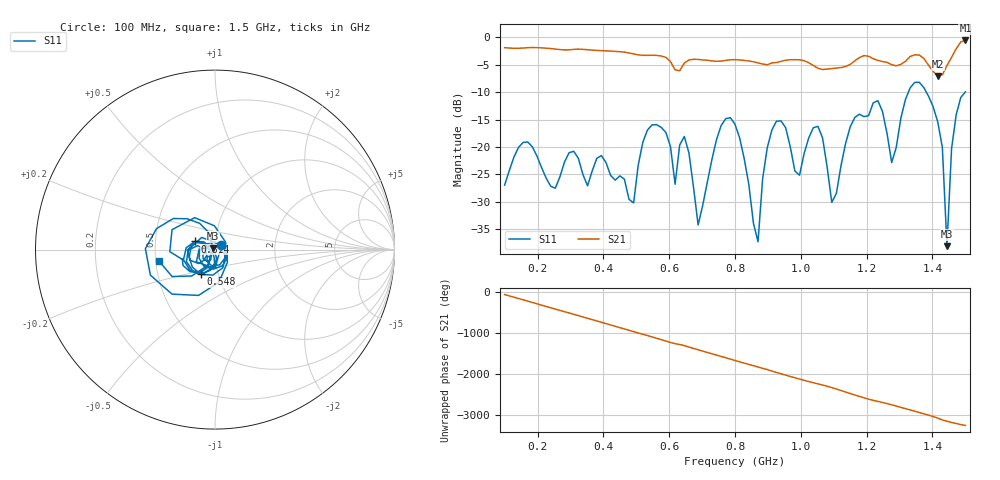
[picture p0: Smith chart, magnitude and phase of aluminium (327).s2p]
! NanoVNA-App
! Date: 2025-09-25 14:57:49
! Start: 100MHz Stop: 1,5GHz Points: 101
! S-Parameter data: F S11 S21 S12 S22
# Hz S RI R 50
!  Frequency  S11_Real  S11_Imag  S21_Real  S21_Imag  S12_Real  S12_Imag  S22_Real  S22_Imag
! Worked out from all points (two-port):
!   101 points, 100 MHz to 1.5 GHz, reference 50 ohm
!   highest |S21| = -0.61 dB at 1.5 GHz (marker M1); lowest = -7.1 dB at 1.416 GHz (marker M2)
!   |S21| within 3 dB of the highest: start of sweep to 585.5 MHz; 1.331 GHz to 1.368 GHz (36.79 MHz wide, 2.73 % of centre) (the widest 2 of 4)
!   lowest |S11| = -38.1 dB at 1.444 GHz (marker M3), VSWR 1.03, Z = 49 + j0.762 ohm
!   |S11| at or under -10 dB: start of sweep to 1.327 GHz; 1.381 GHz to 1.5 GHz (118.6 MHz wide, 8.23 % of centre)
!   S12 and S22 are empty: the file has one direction only
!   S11 on the Smith chart (normalised r, x): 100 MHz: 1.07, +0.06; 548 MHz: 0.82, -0.23; 814 MHz: 0.79, +0.07; 1.5 GHz: 0.52, -0.08
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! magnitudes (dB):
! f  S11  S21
! 100 MHz  -27.0  -1.9
! 338 MHz  -25.0  -2.2
! 492 MHz  -30.2  -3.1
! 548 MHz  -16.0  -3.3
! 576 MHz  -16.4  -3.5
! 618 MHz  -26.8  -6.0
! 646 MHz  -18.1  -4.7
! 688 MHz  -34.2  -4.1
! 800 MHz  -15.9  -4.1
! 814 MHz  -18.3  -4.2
! 870 MHz  -37.3  -4.7
! 912 MHz  -16.9  -4.7
! 996 MHz  -25.1  -4.1
! 1.038 GHz  -16.5  -5.2
! 1.094 GHz  -30.1  -5.7
! 1.22 GHz  -12.0  -3.9
! 1.276 GHz  -22.8  -5.0
! 1.346 GHz  -8.2  -3.2
! 1.416 GHz  -15.4  -7.1
! 1.444 GHz  -38.1  -5.2
! 1.458 GHz  -20.3  -3.7
! 1.5 GHz  -10.0  -0.6
